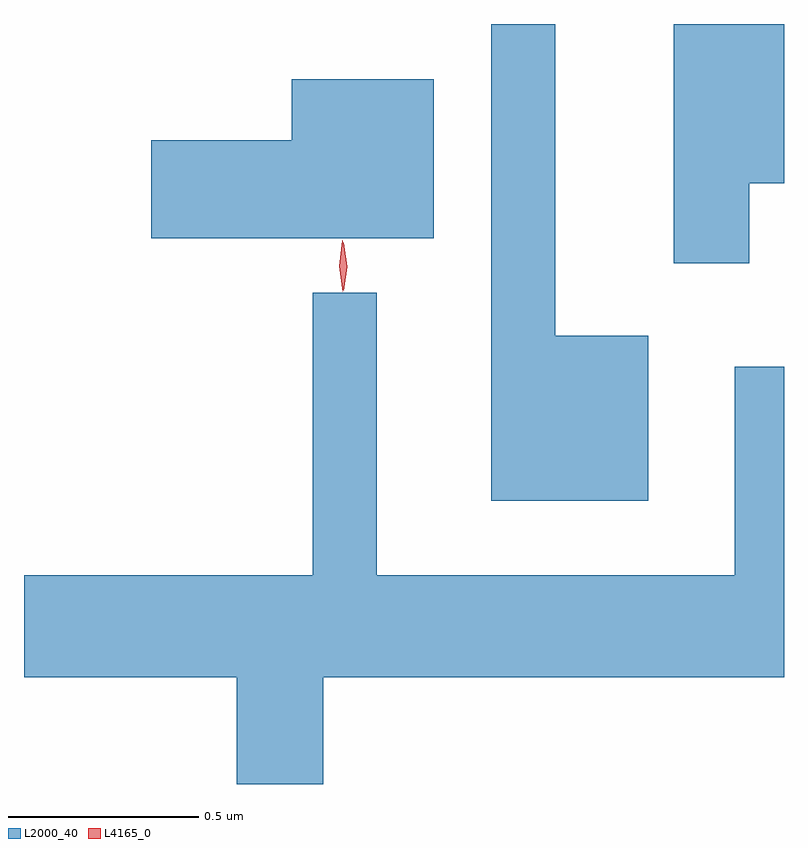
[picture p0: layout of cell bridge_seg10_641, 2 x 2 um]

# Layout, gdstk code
import gdstk
lib = gdstk.Library(unit=1e-6, precision=1e-09)
def P(c, l, *ps):  # polygons
    for p in ps: c.add(gdstk.Polygon(p, *l))
L2000_40 = (2000, 40)
L4165_0 = (4165, 0)

bridge_seg10_641 = lib.new_cell('bridge_seg10_641')
P(bridge_seg10_641, L2000_40, [(761.509,2101.896),(761.601,2101.896),(761.601,2102.315),(761.416,2102.315),(761.416,2102.314),(761.311,2102.314),(761.311,2101.686),(761.509,2101.686)],
  [(761.244,2101.494),(760.999,2101.494),(760.999,2102.315),(760.831,2102.315),(760.831,2101.061),(761.244,2101.061)],
  [(760.679,2102.169),(760.306,2102.169),(760.306,2102.009),(759.936,2102.009),(759.936,2101.751),(760.679,2101.751)],
  [(760.389,2100.596),(761.601,2100.596),(761.601,2101.413),(761.471,2101.413),(761.471,2100.864),(760.529,2100.864),(760.529,2101.608),(760.361,2101.608),(760.361,2100.864),(759.601,2100.864),(759.601,2100.596),(760.161,2100.596),(760.161,2100.315),(760.389,2100.315)])
P(bridge_seg10_641, L4165_0, [(760.442,2101.613),(760.442,2101.613),(760.432,2101.676),(760.442,2101.74),(760.442,2101.74),(760.443,2101.74),(760.452,2101.676),(760.443,2101.613)],
  [(760.44,2101.61),(760.44,2101.61),(760.43,2101.678),(760.439,2101.745),(760.439,2101.746),(760.44,2101.745),(760.45,2101.678),(760.44,2101.61)])

lib.write_gds('bridge_seg10_641.gds')
